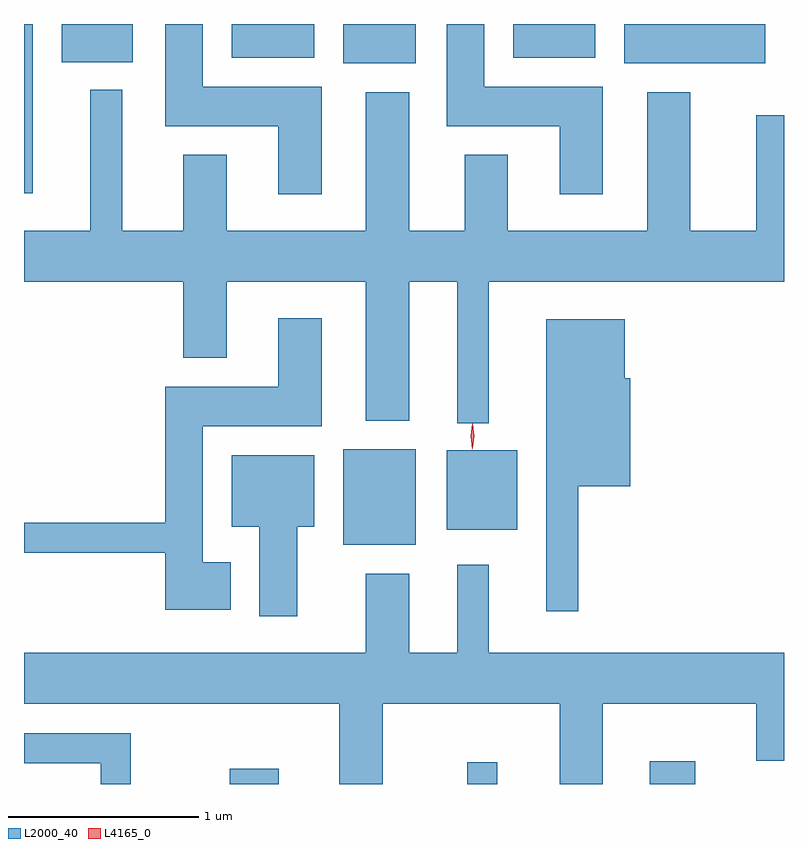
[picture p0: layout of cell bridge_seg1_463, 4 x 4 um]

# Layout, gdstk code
import gdstk
lib = gdstk.Library(unit=1e-6, precision=1e-09)
def R(c, l, rs):  # rectangles x0, y0, x1, y1
    for r in rs: c.add(gdstk.rectangle(r[:2], r[2:], *l))
def P(c, l, *ps):  # polygons
    for p in ps: c.add(gdstk.Polygon(p, *l))
L2000_40 = (2000, 40)
L4165_0 = (4165, 0)

bridge_seg1_463 = lib.new_cell('bridge_seg1_463')
R(bridge_seg1_463, L2000_40, [(232.286,850.313,232.544,850.394), (233.536,850.313,233.694,850.428), (234.496,850.313,234.734,850.434), (232.881,851.571,233.264,852.074), (233.426,851.651,233.799,852.069), (231.202,853.421,231.249,854.313), (232.881,854.106,233.264,854.313), (234.361,854.106,235.104,854.313), (231.401,854.111,231.774,854.313), (232.296,854.136,232.729,854.313), (233.776,854.136,234.209,854.313)])
P(bridge_seg1_463, L2000_40, [(232.769,853.984),(232.144,853.984),(232.144,854.313),(231.946,854.313),(231.946,853.776),(232.541,853.776),(232.541,853.416),(232.769,853.416)],
  [(234.249,853.984),(233.624,853.984),(233.624,854.313),(233.426,854.313),(233.426,853.776),(234.021,853.776),(234.021,853.416),(234.249,853.416)],
  [(233.649,852.956),(235.202,852.956),(235.202,853.834),(235.056,853.834),(235.056,853.224),(234.709,853.224),(234.709,853.954),(234.481,853.954),(234.481,853.224),(233.749,853.224),(233.749,853.624),(233.521,853.624),(233.521,853.224),(233.229,853.224),(233.229,853.954),(233.001,853.954),(233.001,853.224),(232.269,853.224),(232.269,853.624),(232.041,853.624),(232.041,853.224),(231.719,853.224),(231.719,853.968),(231.551,853.968),(231.551,853.224),(231.202,853.224),(231.202,852.956),(232.041,852.956),(232.041,852.556),(232.269,852.556),(232.269,852.956),(233.001,852.956),(233.001,852.226),(233.229,852.226),(233.229,852.956),(233.481,852.956),(233.481,852.213),(233.649,852.213)],
  [(232.289,851.479),(232.144,851.479),(232.144,852.196),(232.769,852.196),(232.769,852.764),(232.541,852.764),(232.541,852.404),(231.946,852.404),(231.946,851.689),(231.202,851.689),(231.202,851.531),(231.946,851.531),(231.946,851.231),(232.289,851.231)],
  [(234.119,851.881),(234.394,851.881),(234.394,852.449),(234.364,852.449),(234.364,852.759),(233.951,852.759),(233.951,851.223),(234.119,851.223)],
  [(232.639,851.666),(232.729,851.666),(232.729,852.044),(232.296,852.044),(232.296,851.666),(232.441,851.666),(232.441,851.196),(232.639,851.196)],
  [(233.089,850.736),(234.021,850.736),(234.021,850.313),(234.249,850.313),(234.249,850.736),(235.056,850.736),(235.056,850.436),(235.202,850.436),(235.202,851.004),(233.649,851.004),(233.649,851.468),(233.481,851.468),(233.481,851.004),(233.229,851.004),(233.229,851.419),(233.001,851.419),(233.001,851.004),(231.202,851.004),(231.202,850.736),(232.861,850.736),(232.861,850.313),(233.089,850.313)],
  [(231.764,850.579),(231.202,850.579),(231.202,850.421),(231.606,850.421),(231.606,850.313),(231.764,850.313)])
P(bridge_seg1_463, L4165_0, [(233.562,852.078),(233.562,852.079),(233.552,852.142),(233.562,852.206),(233.562,852.207),(233.563,852.206),(233.572,852.142),(233.563,852.079)],
  [(233.561,852.074),(233.552,852.142),(233.562,852.21),(233.562,852.21),(233.563,852.21),(233.572,852.142),(233.562,852.074),(233.562,852.074)])

lib.write_gds('bridge_seg1_463.gds')
